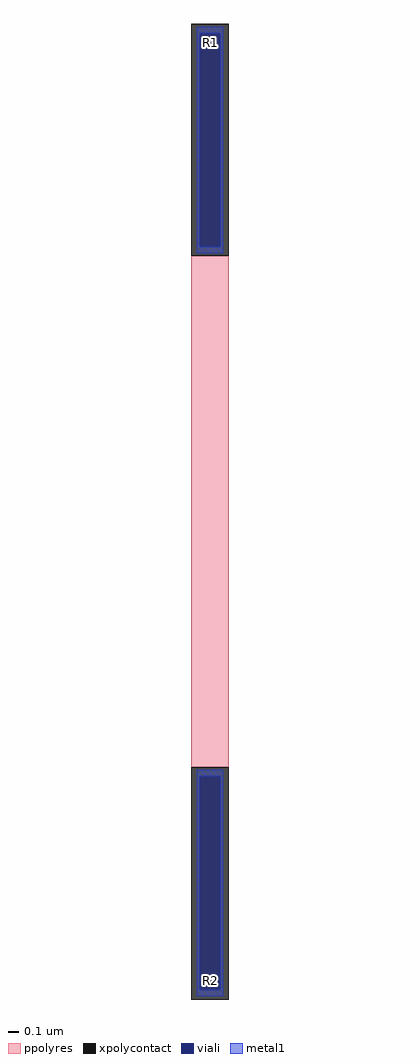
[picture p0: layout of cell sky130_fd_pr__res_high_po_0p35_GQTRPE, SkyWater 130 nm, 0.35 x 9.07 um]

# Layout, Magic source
magic
tech sky130A
magscale 1 2
<< xpolycontact >>
rect -35 475 35 907
rect -35 -907 35 -475
<< ppolyres >>
rect -35 -475 35 475
<< viali >>
rect -19 492 19 889
rect -19 -889 19 -492
<< metal1 >>
rect -25 889 25 901
rect -25 492 -19 889
rect 19 492 25 889
rect -25 480 25 492
rect -25 -492 25 -480
rect -25 -889 -19 -492
rect 19 -889 25 -492
rect -25 -901 25 -889
<< labels >>
rlabel xpolycontact 0 872 0 872 0 R1
port 1 nsew
rlabel xpolycontact 0 -872 0 -872 0 R2
port 2 nsew
<< properties >>
string gencell sky130_fd_pr__res_high_po_0p35
string library sky130
string parameters w 0.35 l 4.91 m 1 nx 1 wmin 0.350 lmin 0.50 class resistor rho 319.8 val 5.599k dummy 0 dw 0.0 term 194.82 sterm 0.0 caplen 0 guard 0 glc 1 grc 1 gtc 1 gbc 1 compatible {sky130_fd_pr__res_high_po_0p35  sky130_fd_pr__res_high_po_0p69 sky130_fd_pr__res_high_po_1p41  sky130_fd_pr__res_high_po_2p85 sky130_fd_pr__res_high_po_5p73} snake 0 full_metal 1 wmax 0.350 vias 1 n_guard 0 hv_guard 0 viagb 0 viagt 0 viagl 0 viagr 0 doports 1
<< end >>
